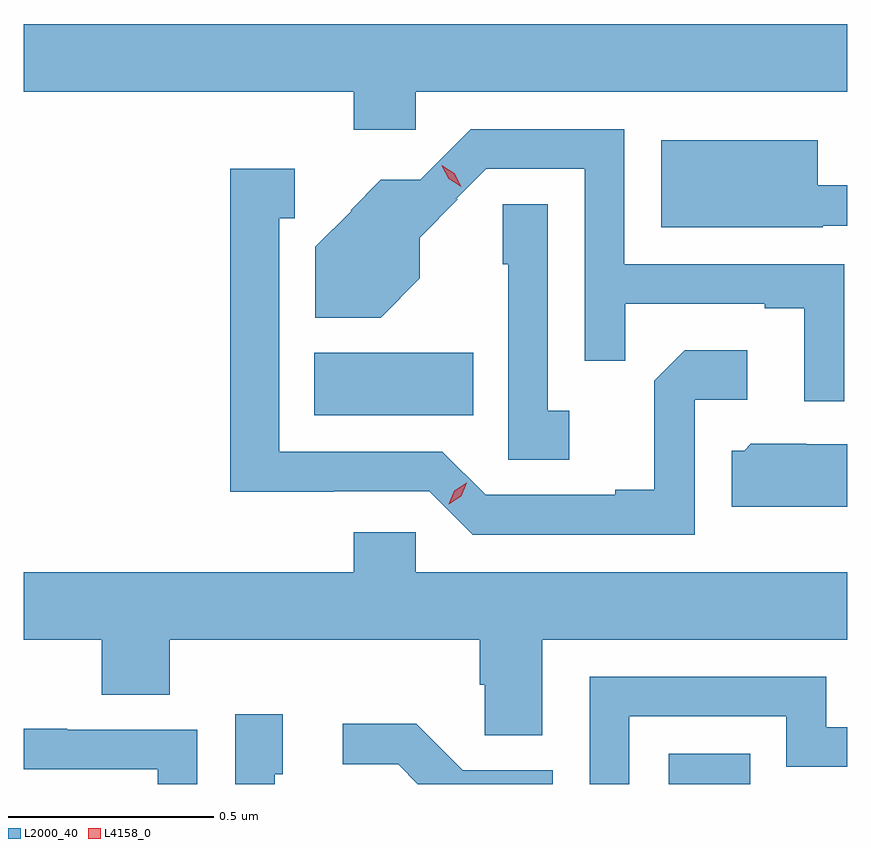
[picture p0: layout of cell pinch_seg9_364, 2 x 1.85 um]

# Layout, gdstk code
import gdstk
lib = gdstk.Library(unit=1e-6, precision=1e-09)
def R(c, l, rs):  # rectangles x0, y0, x1, y1
    for r in rs: c.add(gdstk.rectangle(r[:2], r[2:], *l))
def P(c, l, *ps):  # polygons
    for p in ps: c.add(gdstk.Polygon(p, *l))
L2000_40 = (2000, 40)
L4158_0 = (4158, 0)

pinch_seg9_364 = lib.new_cell('pinch_seg9_364')
R(pinch_seg9_364, L2000_40, [(554.703,1178.754,554.901,1178.827), (553.841,1179.65,554.228,1179.802)])
P(pinch_seg9_364, L2000_40, [(554.088,1180.436),(555.136,1180.436),(555.136,1180.6),(553.136,1180.6),(553.136,1180.436),(553.937,1180.436),(553.937,1180.343),(554.088,1180.343)],
  [(555.129,1180.017),(554.595,1180.017),(554.595,1180.344),(554.222,1180.344),(554.099,1180.222),(554.003,1180.222),(553.93,1180.148),(553.932,1180.147),(553.844,1180.059),(553.844,1179.887),(554.003,1179.887),(554.098,1179.982),(554.098,1180.081),(554.19,1180.174),(554.187,1180.176),(554.259,1180.248),(554.499,1180.248),(554.499,1179.782),(554.597,1179.782),(554.597,1179.921),(554.936,1179.921),(554.936,1179.909),(555.032,1179.909),(555.032,1179.684),(555.129,1179.684)],
  [(555.077,1180.11),(555.136,1180.11),(555.136,1180.208),(555.064,1180.208),(555.064,1180.318),(554.684,1180.318),(554.684,1180.106),(555.077,1180.106)],
  [(554.766,1179.687),(554.893,1179.687),(554.893,1179.808),(554.742,1179.808),(554.667,1179.734),(554.667,1179.469),(554.573,1179.469),(554.573,1179.456),(554.258,1179.456),(554.153,1179.561),(553.756,1179.561),(553.756,1180.128),(553.794,1180.128),(553.794,1180.249),(553.638,1180.249),(553.638,1179.464),(553.889,1179.464),(553.889,1179.465),(554.121,1179.465),(554.226,1179.36),(554.766,1179.36)],
  [(554.461,1179.66),(554.409,1179.66),(554.409,1180.162),(554.299,1180.162),(554.299,1180.017),(554.313,1180.017),(554.313,1179.541),(554.461,1179.541)],
  [(555.136,1179.579),(555.036,1179.579),(555.036,1179.58),(554.902,1179.58),(554.886,1179.564),(554.855,1179.564),(554.855,1179.428),(555.136,1179.428)],
  [(554.395,1179.104),(555.136,1179.104),(555.136,1179.268),(554.088,1179.268),(554.088,1179.366),(553.937,1179.366),(553.937,1179.268),(553.136,1179.268),(553.136,1179.104),(553.325,1179.104),(553.325,1178.971),(553.49,1178.971),(553.49,1179.104),(554.243,1179.104),(554.243,1178.995),(554.256,1178.995),(554.256,1178.872),(554.395,1178.872)],
  [(554.607,1178.919),(554.988,1178.919),(554.988,1178.796),(555.136,1178.796),(555.136,1178.892),(555.085,1178.892),(555.085,1179.015),(554.511,1179.015),(554.511,1178.754),(554.607,1178.754)],
  [(553.746,1178.778),(553.765,1178.778),(553.765,1178.923),(553.65,1178.923),(553.65,1178.754),(553.746,1178.754)],
  [(554.421,1178.787),(554.202,1178.787),(554.089,1178.9),(553.911,1178.9),(553.911,1178.802),(554.045,1178.802),(554.093,1178.754),(554.421,1178.754)],
  [(553.557,1178.886),(553.241,1178.886),(553.241,1178.888),(553.136,1178.888),(553.136,1178.79),(553.461,1178.79),(553.461,1178.754),(553.557,1178.754)])
P(pinch_seg9_364, L4158_0, [(554.168,1179.434),(554.168,1179.434),(554.182,1179.466),(554.212,1179.486),(554.212,1179.486),(554.212,1179.486),(554.198,1179.453),(554.168,1179.434)],
  [(554.199,1180.205),(554.168,1180.224),(554.151,1180.256),(554.151,1180.257),(554.151,1180.257),(554.182,1180.238),(554.199,1180.205),(554.199,1180.205)])

lib.write_gds('pinch_seg9_364.gds')
